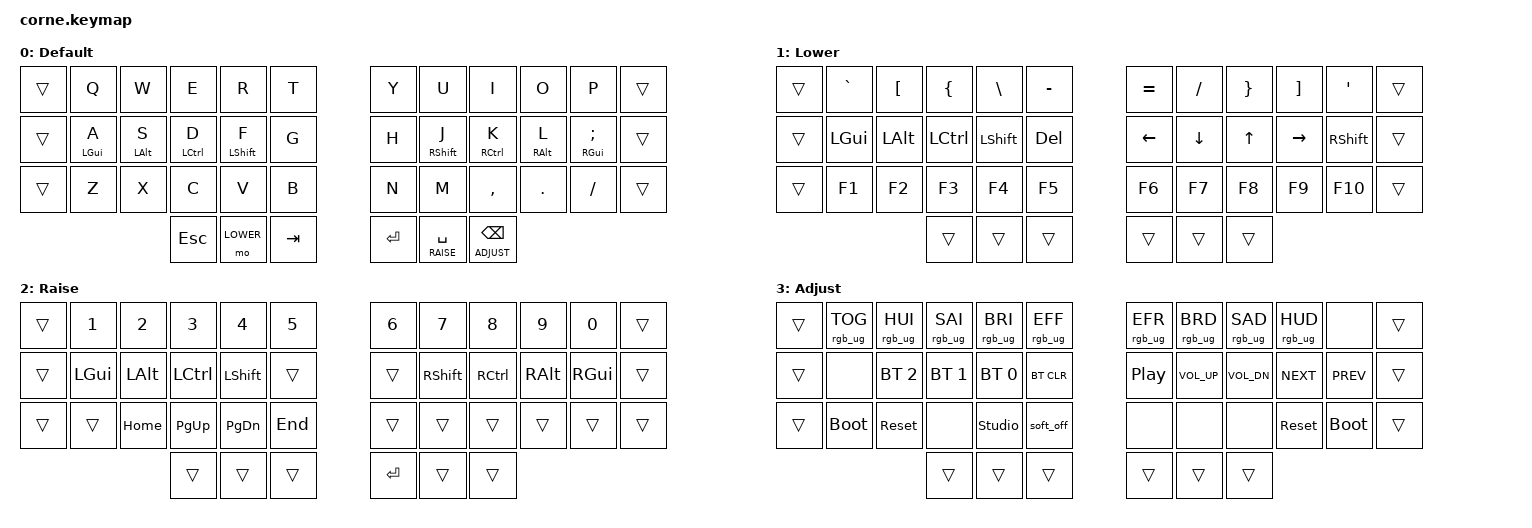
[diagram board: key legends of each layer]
#include <behaviors.dtsi>
#include <dt-bindings/zmk/keys.h>
#include <dt-bindings/zmk/bt.h>
#include <dt-bindings/zmk/rgb.h>

#define DEFAULT 0
#define LOWER   1
#define RAISE   2
#define ADJUST  3

&mt {
    tapping-term-ms = <250>;
    flavor = "balanced";
    require-prior-idle-ms = <150>;
};

&lt {
    tapping-term-ms = <200>;
    flavor = "balanced";
    require-prior-idle-ms = <150>;
};

/ {
    keymap {
        compatible = "zmk,keymap";

        default_layer {
            display-name = "Default";
            bindings = <
// ┌──────┬───────────┬───────────┬────────────┬────────────┬─────┐       ┌─────┬────────────┬────────────┬───────────┬───────────┬──────┐
// │      │     Q     │     W     │     E      │     R      │  T  │       │  Y  │     U      │     I      │     O     │     P     │      │
// ├──────┼───────────┼───────────┼────────────┼────────────┼─────┤       ├─────┼────────────┼────────────┼───────────┼───────────┼──────┤
// │      │ mt lgui A │ mt lalt S │ mt lctl D  │ mt lsft F  │  G  │       │  H  │ mt rsft J  │ mt rctl K  │ mt ralt L │ mt rgui ; │      │
// ├──────┼───────────┼───────────┼────────────┼────────────┼─────┤       ├─────┼────────────┼────────────┼───────────┼───────────┼──────┤
// │      │     Z     │     X     │     C      │     V      │  B  │       │  N  │     M      │     ,      │     .     │     /     │      │
// └──────┴───────────┴───────────┼────────────┼────────────┼─────┤       ├─────┼────────────┼────────────┼───────────┴───────────┴──────┘
//                                │    ESC     │   mo 1     │ TAB │       │ ENT │ lt 2 SPC   │ lt 3 BSPC  │
//                                └────────────┴────────────┴─────┘       └─────┴────────────┴────────────┘
   &trans   &kp Q        &kp W        &kp E          &kp R          &kp T        &kp Y      &kp U          &kp I        &kp O        &kp P          &trans
   &trans   &mt LGUI A   &mt LALT S   &mt LCTRL D    &mt LSHIFT F   &kp G        &kp H      &mt RSHIFT J   &mt RCTRL K  &mt RALT L   &mt RGUI SEMI  &trans
   &trans   &kp Z        &kp X        &kp C          &kp V          &kp B        &kp N      &kp M          &kp COMMA    &kp DOT      &kp FSLH       &trans
                                      &kp ESC        &mo LOWER      &kp TAB      &kp ENTER  &lt RAISE SPACE    &lt ADJUST BSPC
            >;
        };

        lower_layer {
            display-name = "Lower";
            bindings = <
// ┌───────┬───────┬───────┬───────┬───────┬───────┐       ┌───────┬───────┬───────┬───────┬───────┬───────┐
// │       │   `   │   [   │   {   │   \   │   -   │       │   =   │   /   │   }   │   ]   │  SQT  │       │
// ├───────┼───────┼───────┼───────┼───────┼───────┤       ├───────┼───────┼───────┼───────┼───────┼───────┤
// │       │ LGUI  │ LALT  │ LCTL  │ LSFT  │  DEL  │       │ LEFT  │ DOWN  │  UP   │ RIGHT │ RSFT  │       │
// ├───────┼───────┼───────┼───────┼───────┼───────┤       ├───────┼───────┼───────┼───────┼───────┼───────┤
// │       │  F1   │  F2   │  F3   │  F4   │  F5   │       │  F6   │  F7   │  F8   │  F9   │  F10  │       │
// └───────┴───────┴───────┼───────┼───────┼───────┤       ├───────┼───────┼───────┼───────┴───────┴───────┘
//                         │       │       │       │       │       │       │       │
//                         └───────┴───────┴───────┘       └───────┴───────┴───────┘
   &trans   &kp GRAVE   &kp LBKT   &kp LBRC   &kp BSLH   &kp MINUS       &kp EQUAL   &kp FSLH   &kp RBRC   &kp RBKT   &kp SQT     &trans
   &trans   &kp LGUI    &kp LALT   &kp LCTRL  &kp LSHIFT &kp DEL         &kp LEFT    &kp DOWN   &kp UP     &kp RIGHT  &kp RSHIFT  &trans
   &trans   &kp F1      &kp F2     &kp F3     &kp F4     &kp F5          &kp F6      &kp F7     &kp F8     &kp F9     &kp F10     &trans
                                   &trans     &trans     &trans           &trans      &trans     &trans
            >;
        };

        raise_layer {
            display-name = "Raise";
            bindings = <
// ┌───────┬───────┬───────┬───────┬───────┬───────┐       ┌───────┬───────┬───────┬───────┬───────┬───────┐
// │       │   1   │   2   │   3   │   4   │   5   │       │   6   │   7   │   8   │   9   │   0   │       │
// ├───────┼───────┼───────┼───────┼───────┼───────┤       ├───────┼───────┼───────┼───────┼───────┼───────┤
// │       │ LGUI  │ LALT  │ LCTL  │ LSFT  │       │       │       │ RSFT  │ RCTL  │ RALT  │ RGUI  │       │
// ├───────┼───────┼───────┼───────┼───────┼───────┤       ├───────┼───────┼───────┼───────┼───────┼───────┤
// │       │       │ HOME  │ PG_UP │ PG_DN │  END  │       │       │       │       │       │       │       │
// └───────┴───────┴───────┼───────┼───────┼───────┤       ├───────┼───────┼───────┼───────┴───────┴───────┘
//                         │       │       │       │       │  ENT  │       │       │
//                         └───────┴───────┴───────┘       └───────┴───────┴───────┘
   &trans   &kp N1    &kp N2     &kp N3     &kp N4      &kp N5          &kp N6    &kp N7     &kp N8    &kp N9     &kp N0    &trans
   &trans   &kp LGUI  &kp LALT   &kp LCTRL  &kp LSHIFT  &trans          &trans    &kp RSHIFT &kp RCTRL &kp RALT   &kp RGUI  &trans
   &trans   &trans    &kp HOME   &kp PG_UP  &kp PG_DN   &kp END         &trans    &trans     &trans    &trans     &trans    &trans
                                 &trans     &trans      &trans           &kp ENTER &trans     &trans
            >;
        };

        adjust_layer {
            display-name = "Adjust";
            bindings = <
// ┌──────┬──────┬────────┬────────┬────────┬────────┐       ┌───────┬──────────┬──────────┬───────────┬───────────┬──────┐
// │      │      │        │        │        │        │       │       │          │          │           │           │      │
// ├──────┼──────┼────────┼────────┼────────┼────────┤       ├───────┼──────────┼──────────┼───────────┼───────────┼──────┤
// │      │      │ BT_SEL2│ BT_SEL1│ BT_SEL0│ BT_CLR │       │ C_PP  │ C_VOL_UP │ C_VOL_DN │  C_NEXT   │  C_PREV   │      │
// ├──────┼──────┼────────┼────────┼────────┼────────┤       ├───────┼──────────┼──────────┼───────────┼───────────┼──────┤
// │      │ BOOT │ RESET  │        │ STUDIO │SOFT_OFF│       │       │          │          │   RESET   │   BOOT    │      │
// └──────┴──────┴────────┼────────┼────────┼────────┤       ├───────┼──────────┼──────────┼───────────┴───────────┴──────┘
//                        │        │        │        │       │       │          │          │
//                        └────────┴────────┴────────┘       └───────┴──────────┴──────────┘
   &trans   &rgb_ug RGB_TOG &rgb_ug RGB_HUI &rgb_ug RGB_SAI &rgb_ug RGB_BRI &rgb_ug RGB_EFF   &rgb_ug RGB_EFR &rgb_ug RGB_BRD &rgb_ug RGB_SAD &rgb_ug RGB_HUD &none    &trans
   &trans   &none         &bt BT_SEL 2   &bt BT_SEL 1   &bt BT_SEL 0   &bt BT_CLR         &kp C_PP  &kp C_VOL_UP   &kp C_VOL_DN   &kp C_NEXT   &kp C_PREV    &trans
   &trans   &bootloader   &sys_reset     &none          &studio_unlock &soft_off          &none     &none          &none          &sys_reset   &bootloader   &trans
                                         &trans         &trans         &trans             &trans    &trans         &trans
            >;
        };
    };
};

